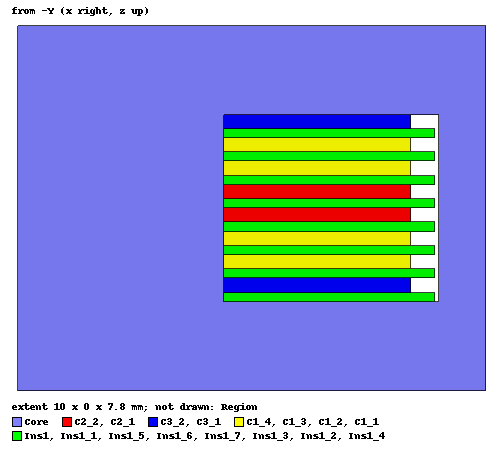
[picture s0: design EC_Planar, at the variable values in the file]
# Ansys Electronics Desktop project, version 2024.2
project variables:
  $Vpeak = 100V
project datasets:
  $Mu_3F3: (0, 2000) (98459.682, 2027.2) (197983.6, 2051) (398107.17, 2100) (494745.69, 2124) (596047.54, 2174) (696140.06, 2251.3) (788186.9, 2304.4) (892404.59, 2386.3) (994839.02, 2500.2) (1126381.2, 2589.1) (1255672.6, 2619.4) (1378243.2, 2619.4) (1536444.4, 2559.1) (1712804.8, 2414.3) (1822527.8, 2251.3) (1969618.1, 2075) (2161879.4, 1846.9) (2372908, 1550.8) (2604535.8, 1242.9) (2814739.5, 1019.6) (3287410.5, 603.6) (3780315.9, 300) (4214238.4, 188.3) (4625605, 122.3) (4846109.9, 100.3) (5156553.8, 88.3) (5402369.3, 77.7) (5659903, 70) (6116695.4, 60.1) (6713767.4, 49.3) (7963859.6, 39.5) (9016877.7, 34.3) (10209131, 31.3) (11559029, 28.8)
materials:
  vacuum: permittivity=1
  M15_29G: permeability{HUnit=A_per_meter BUnit=tesla curve (0, 0) (63.662, 0.6) (71.62, 0.71) (79.577, 0.8) (159.155, 1.22) (238.732, 1.32) (318.31, 1.375) (397.887, 1.41) (477.465, 1.43) (557.042, 1.45) (636.62, 1.46) (716.197, 1.475) (795.775, 1.48) (1591.55, 1.54) (2387.32, 1.59) (3183.1, 1.63) (3978.87, 1.65) (4774.65, 1.68) (5570.42, 1.7) (6366.2, 1.72) (7161.97, 1.74) (7957.75, 1.76) (15915.5, 1.875) (23873.2, 1.96) (27852.1, 2)} conductivity=1960000 core_loss_type="Electrical Steel" core_loss_kh=138.7 core_loss_kc=0.409 mass_density=7650
  copper: permeability=0.999991 conductivity=58000000
  polyamide: permittivity=4.3 dielectric_loss_tangent=0.004
  Air: CoordinateSystemType=Cylindrical permittivity=1 permeability=1
  Material_3F3: permeability=pwl($Mu_3F3,Freq) conductivity=0.5 core_loss_type="Power Ferrite" core_loss_cm=0.195 core_loss_x=1.561 core_loss_y=2.15

design EC_Planar (Maxwell 2D, EddyCurrent, about Z geometry, model units mm)
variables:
  Vpeak = 50mV
  Rload = 0.4ohm
  R_load_ter = 1000000ohm
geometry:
  Core [Material_3F3] = rectangle(corner=(0mm, 0mm, -3.9mm), z_size=7.8mm, x_size=10mm)
  Window = rectangle(corner=(4.4mm, 0mm, -2.005mm), z_size=(2.005*2) mm, x_size=4.6mm)
  Core.subtract(Window)
  C3_2 [copper] = rectangle(corner=(4.4mm, 0mm, 2.005mm), z_size=-0.3mm, x_size=4mm)
  Ins1 [polyamide] = rectangle(corner=(4.4mm, 0mm, 1.70499mm), z_size=-0.2mm, x_size=4.5mm)
  C1_4, C1_3, C2_2, C2_1, C1_2, C1_1, C3_1 [copper] = C3_2.duplicate_along_line(step=(0mm, 0mm, -0.5mm-1e-5mm), total=8)
  Ins1_1..Ins1_7 [polyamide] = Ins1.duplicate_along_line(step=(0mm, 0mm, -0.5mm-1e-5mm), total=8)
  Region [vacuum] = region(percentage_offset: +X=100, -X=100, +Y=0, -Y=0, +Z=100, -Z=100)
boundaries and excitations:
  Balloon1: Balloon Edges=Region.edge(at (10, 0, 11.7), at (20, 0, 0), at (10, 0, -11.7))
  C1_1: Coil Objects=C1_1 Conductor_number=1 Winding=pri PolarityType=Positive
  C1_2: Coil Objects=C1_2 Conductor_number=1 Winding=pri PolarityType=Positive
  C1_3: Coil Objects=C1_3 Conductor_number=1 Winding=pri PolarityType=Positive
  C1_4: Coil Objects=C1_4 Conductor_number=1 Winding=pri PolarityType=Positive
  C2_1: Coil Objects=C2_1 Conductor_number=1 Winding=sec PolarityType=Positive
  C2_2: Coil Objects=C2_2 Conductor_number=1 Winding=sec PolarityType=Positive
  C3_1: Coil Objects=C3_1 Conductor_number=1 Winding=terz PolarityType=Positive
  C3_2: Coil Objects=C3_2 Conductor_number=1 Winding=terz PolarityType=Positive
  pri: Winding Group Type=Voltage IsSolid=true Current=0mA Resistance=0ohm Inductance=0nH Voltage=Vpeak ParallelBranchesNum=1 Phase=0deg
  sec: Winding Group Type=Voltage IsSolid=true Current=0mA Resistance=Rload Inductance=0nH Voltage=0mV ParallelBranchesNum=1 Phase=0deg
  terz: Winding Group Type=Voltage IsSolid=true Current=0mA Resistance=R_load_ter Inductance=0nH Voltage=0mV ParallelBranchesNum=1 Phase=0deg
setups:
  Setup1: EddyCurrent MaximumPasses=10 MinimumPasses=2 MinimumConvergedPasses=1 PercentRefinement=30 PercentError=0.1 NonLinearResidual=0.0001 Frequency=100kHz
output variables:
  Lleakage12_from_CC = Matrix1.L(pri,pri)*(1-Matrix1.CplCoef(pri,sec)^2)
  Lleakage13_from_CC = Matrix1.L(pri,pri)*(1-Matrix1.CplCoef(pri,tert)^2)
  Lleakage23_from_CC = Matrix1.L(sec,sec)*(1-Matrix1.CplCoef(sec,tert)^2)
  Lleakage13_from_L11 = Matrix1.L(pri,pri)-2*Matrix1.L(pri,tert)-2*Matrix1.L(tert,pri)+4*Matrix1.L(tert,tert)
  Lleakage12_from_L11 = Matrix1.L(pri,pri)-2*Matrix1.L(pri,sec)-2*Matrix1.L(sec,pri)+4*Matrix1.L(sec,sec)
  Lleakage23_from_L22 = Matrix1.L(sec,sec)-1*Matrix1.L(sec,tert)-1*Matrix1.L(tert,sec)+1*Matrix1.L(tert,tert)
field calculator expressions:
  Ipri = Fundamental_Quantity(23) | Scalar_Function(FuncValue='Phase') | AtPhase | ScalarY | EnterSurface(C1_1) | SurfaceValue | RZIntegrate
  Isec = Fundamental_Quantity(23) | Scalar_Function(FuncValue='Phase') | AtPhase | ScalarY | EnterSurface(C2_1) | SurfaceValue | RZIntegrate
  Iter = Fundamental_Quantity(23) | Scalar_Function(FuncValue='Phase') | AtPhase | ScalarY | EnterSurface(C3_1) | SurfaceValue | RZIntegrate
